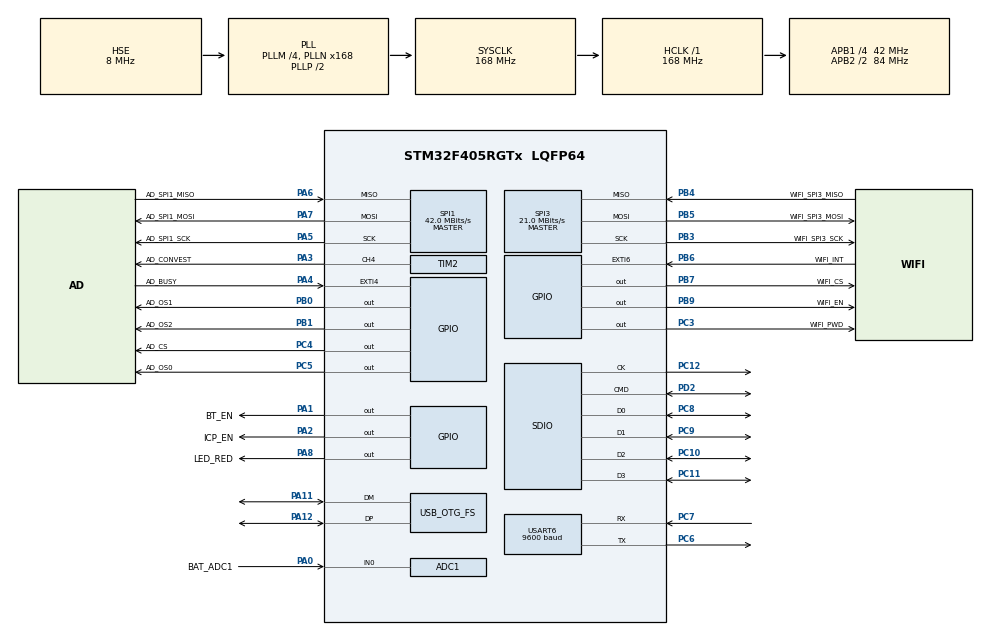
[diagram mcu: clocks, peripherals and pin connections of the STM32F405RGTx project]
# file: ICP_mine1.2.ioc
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ADC1.Channel-0\#ChannelRegularConversion=ADC_CHANNEL_0
ADC1.ClockPrescaler=ADC_CLOCK_SYNC_PCLK_DIV4
ADC1.ContinuousConvMode=DISABLE
ADC1.DMAContinuousRequests=DISABLE
ADC1.DataAlign=ADC_DATAALIGN_RIGHT
ADC1.DiscontinuousConvMode=DISABLE
ADC1.EOCSelection=ADC_EOC_SINGLE_CONV
ADC1.EnableAnalogWatchDog=false
ADC1.ExternalTrigConv=ADC_SOFTWARE_START
ADC1.ExternalTrigConvEdge=ADC_EXTERNALTRIGCONVEDGE_NONE
ADC1.InjNumberOfConversion=0
ADC1.NbrOfConversion=1
ADC1.NbrOfConversionFlag=1
ADC1.Rank-0\#ChannelRegularConversion=1
ADC1.Resolution=ADC_RESOLUTION_12B
ADC1.SamplingTime-0\#ChannelRegularConversion=ADC_SAMPLETIME_3CYCLES
ADC1.ScanConvMode=DISABLE
ADC1.master=1
Dma.Request0=SDIO_RX
Dma.Request1=SDIO_TX
Dma.SDIO_RX.0.Direction=DMA_PERIPH_TO_MEMORY
Dma.SDIO_RX.0.FIFOMode=DMA_FIFOMODE_ENABLE
Dma.SDIO_RX.0.FIFOThreshold=DMA_FIFO_THRESHOLD_FULL
Dma.SDIO_RX.0.Instance=DMA2_Stream3
Dma.SDIO_RX.0.MemBurst=DMA_MBURST_INC4
Dma.SDIO_RX.0.MemDataAlignment=DMA_MDATAALIGN_WORD
Dma.SDIO_RX.0.MemInc=DMA_MINC_ENABLE
Dma.SDIO_RX.0.Mode=DMA_PFCTRL
Dma.SDIO_RX.0.PeriphBurst=DMA_PBURST_INC4
Dma.SDIO_RX.0.PeriphDataAlignment=DMA_PDATAALIGN_WORD
Dma.SDIO_RX.0.PeriphInc=DMA_PINC_DISABLE
Dma.SDIO_RX.0.Priority=DMA_PRIORITY_HIGH
Dma.SDIO_TX.1.Direction=DMA_MEMORY_TO_PERIPH
Dma.SDIO_TX.1.FIFOMode=DMA_FIFOMODE_ENABLE
Dma.SDIO_TX.1.FIFOThreshold=DMA_FIFO_THRESHOLD_FULL
Dma.SDIO_TX.1.Instance=DMA2_Stream6
Dma.SDIO_TX.1.MemBurst=DMA_MBURST_INC4
Dma.SDIO_TX.1.MemDataAlignment=DMA_MDATAALIGN_WORD
Dma.SDIO_TX.1.MemInc=DMA_MINC_ENABLE
Dma.SDIO_TX.1.Mode=DMA_PFCTRL
Dma.SDIO_TX.1.PeriphBurst=DMA_PBURST_INC4
Dma.SDIO_TX.1.PeriphDataAlignment=DMA_PDATAALIGN_WORD
Dma.SDIO_TX.1.PeriphInc=DMA_PINC_DISABLE
Dma.SDIO_TX.1.Priority=DMA_PRIORITY_HIGH
FATFS._USE_LFN=2
FREERTOS.INCLUDE_eTaskGetState=1
FREERTOS.INCLUDE_pcTaskGetTaskName=1
FREERTOS.INCLUDE_uxTaskGetStackHighWaterMark=1
FREERTOS.INCLUDE_vTaskCleanUpResources=1
FREERTOS.INCLUDE_vTaskDelayUntil=1
FREERTOS.Mutexes01=buf_mutex,Dynamic,NULL
FREERTOS.Tasks01=defaultTask,-3,128,StartDefaultTask,As weak,NULL,Dynamic,NULL,NULL;appTask,1,256,StartAppTask,As weak,NULL,Dynamic,NULL,NULL;test_Task,0,128,StartTest_Task,As weak,NULL,Dynamic,NULL,NULL;inquire,2,128,StartInquireTask,As weak,NULL,Dynamic,NULL,NULL
FREERTOS.configCHECK_FOR_STACK_OVERFLOW=2
FREERTOS.configGENERATE_RUN_TIME_STATS=1
FREERTOS.configTOTAL_HEAP_SIZE=102400
FREERTOS.configUSE_MALLOC_FAILED_HOOK=1
FREERTOS.configUSE_TRACE_FACILITY=1
Mcu.Family=STM32F4
Mcu.Name=STM32F405RGTx
Mcu.Package=LQFP64
NVIC.DMA2_Stream3_IRQn=true\:5\:0\:false\:false\:true\:true\:false
NVIC.DMA2_Stream6_IRQn=true\:5\:0\:false\:false\:true\:true\:false
NVIC.EXTI4_IRQn=true\:5\:0\:true\:false\:true\:true\:true
NVIC.EXTI9_5_IRQn=true\:5\:0\:false\:false\:true\:true\:true
NVIC.OTG_FS_IRQn=true\:5\:0\:false\:false\:true\:true\:false
NVIC.PriorityGroup=NVIC_PRIORITYGROUP_4
NVIC.SDIO_IRQn=true\:5\:0\:false\:false\:true\:true\:true
NVIC.TIM1_UP_TIM10_IRQn=true\:0\:0\:false\:false\:true\:false\:false
NVIC.TIM3_IRQn=true\:5\:0\:false\:false\:true\:true\:true
NVIC.TimeBase=TIM1_UP_TIM10_IRQn
NVIC.TimeBaseIP=TIM1
PA0-WKUP.GPIO_Label=BAT_ADC1
PA0-WKUP.Signal=ADCx_IN0
PA1.GPIO_Label=BT_EN
PA1.GPIO_PuPd=GPIO_PULLDOWN
PA1.GPIO_Speed=GPIO_SPEED_FREQ_HIGH
PA1.Signal=GPIO_Output
PA11.Mode=Device_Only
PA11.Signal=USB_OTG_FS_DM
PA12.Mode=Device_Only
PA12.Signal=USB_OTG_FS_DP
PA2.GPIO_Label=ICP_EN
PA2.GPIO_PuPd=GPIO_PULLDOWN
PA2.GPIO_Speed=GPIO_SPEED_FREQ_HIGH
PA2.PinState=GPIO_PIN_SET
PA2.Signal=GPIO_Output
PA3.GPIO_Label=AD_CONVEST
PA3.Signal=S_TIM2_CH4
PA4.GPIO_Label=AD_BUSY
PA4.GPIO_ModeDefaultEXTI=GPIO_MODE_IT_FALLING
PA4.Signal=GPXTI4
PA5.GPIO_Label=AD_SPI1_SCK
PA5.GPIO_PuPd=GPIO_PULLUP
PA5.Mode=Full_Duplex_Master
PA5.Signal=SPI1_SCK
PA6.GPIO_Label=AD_SPI1_MISO
PA6.GPIO_PuPd=GPIO_PULLUP
PA6.Mode=Full_Duplex_Master
PA6.Signal=SPI1_MISO
PA7.GPIO_Label=AD_SPI1_MOSI
PA7.GPIO_PuPd=GPIO_PULLUP
PA7.Mode=Full_Duplex_Master
PA7.Signal=SPI1_MOSI
PA8.GPIO_Label=LED_RED
PA8.GPIO_PuPd=GPIO_PULLUP
PA8.GPIO_Speed=GPIO_SPEED_FREQ_HIGH
PA8.Signal=GPIO_Output
PB0.GPIO_Label=AD_OS1
PB0.GPIO_PuPd=GPIO_PULLDOWN
PB0.GPIO_Speed=GPIO_SPEED_FREQ_HIGH
PB0.Signal=GPIO_Output
PB1.GPIO_Label=AD_OS2
PB1.GPIO_PuPd=GPIO_PULLDOWN
PB1.GPIO_Speed=GPIO_SPEED_FREQ_HIGH
PB1.Signal=GPIO_Output
PB3.GPIO_Label=WIFI_SPI3_SCK
PB3.GPIO_PuPd=GPIO_PULLUP
PB3.Mode=Full_Duplex_Master
PB3.Signal=SPI3_SCK
PB4.GPIO_Label=WIFI_SPI3_MISO
PB4.GPIO_PuPd=GPIO_PULLUP
PB4.Mode=Full_Duplex_Master
PB4.Signal=SPI3_MISO
PB5.GPIO_Label=WIFI_SPI3_MOSI
PB5.GPIO_PuPd=GPIO_PULLUP
PB5.Mode=Full_Duplex_Master
PB5.Signal=SPI3_MOSI
PB6.GPIO_Label=WIFI_INT
PB6.GPIO_ModeDefaultEXTI=GPIO_MODE_IT_FALLING
PB6.Signal=GPXTI6
PB7.GPIO_Label=WIFI_CS
PB7.GPIO_PuPd=GPIO_PULLUP
PB7.GPIO_Speed=GPIO_SPEED_FREQ_HIGH
PB7.PinState=GPIO_PIN_SET
PB7.Signal=GPIO_Output
PB9.GPIO_Label=WIFI_EN
PB9.GPIO_PuPd=GPIO_PULLDOWN
PB9.GPIO_Speed=GPIO_SPEED_FREQ_HIGH
PB9.Signal=GPIO_Output
PC10.GPIO_PuPd=GPIO_PULLUP
PC10.Mode=SD_4_bits_Wide_bus
PC10.Signal=SDIO_D2
PC11.GPIO_PuPd=GPIO_PULLUP
PC11.Mode=SD_4_bits_Wide_bus
PC11.Signal=SDIO_D3
PC12.GPIO_PuPd=GPIO_PULLUP
PC12.Mode=SD_4_bits_Wide_bus
PC12.Signal=SDIO_CK
PC14-OSC32_IN.Mode=LSE-External-Oscillator
PC14-OSC32_IN.Signal=RCC_OSC32_IN
PC15-OSC32_OUT.Mode=LSE-External-Oscillator
PC15-OSC32_OUT.Signal=RCC_OSC32_OUT
PC3.GPIO_Label=WIFI_PWD
PC3.GPIO_PuPd=GPIO_PULLUP
PC3.GPIO_Speed=GPIO_SPEED_FREQ_HIGH
PC3.Signal=GPIO_Output
PC4.GPIO_Label=AD_CS
PC4.GPIO_PuPd=GPIO_PULLUP
PC4.GPIO_Speed=GPIO_SPEED_FREQ_HIGH
PC4.PinState=GPIO_PIN_SET
PC4.Signal=GPIO_Output
PC5.GPIO_Label=AD_OS0
PC5.GPIO_PuPd=GPIO_PULLDOWN
PC5.GPIO_Speed=GPIO_SPEED_FREQ_HIGH
PC5.Signal=GPIO_Output
PC6.Mode=Asynchronous
PC6.Signal=USART6_TX
PC7.Mode=Asynchronous
PC7.Signal=USART6_RX
PC8.GPIO_PuPd=GPIO_PULLUP
PC8.Mode=SD_4_bits_Wide_bus
PC8.Signal=SDIO_D0
PC9.GPIO_PuPd=GPIO_PULLUP
PC9.Mode=SD_4_bits_Wide_bus
PC9.Signal=SDIO_D1
PD2.GPIO_PuPd=GPIO_PULLUP
PD2.Mode=SD_4_bits_Wide_bus
PD2.Signal=SDIO_CMD
PH0-OSC_IN.Mode=HSE-External-Oscillator
PH0-OSC_IN.Signal=RCC_OSC_IN
PH1-OSC_OUT.Mode=HSE-External-Oscillator
PH1-OSC_OUT.Signal=RCC_OSC_OUT
ProjectManager.HeapSize=0x1000
ProjectManager.StackSize=0x500
ProjectManager.TargetToolchain=MDK-ARM V5
RCC.48MHZClocksFreq_Value=48000000
RCC.AHBFreq_Value=168000000
RCC.APB1CLKDivider=RCC_HCLK_DIV4
RCC.APB1Freq_Value=42000000
RCC.APB1TimFreq_Value=84000000
RCC.APB2CLKDivider=RCC_HCLK_DIV2
RCC.APB2Freq_Value=84000000
RCC.APB2TimFreq_Value=168000000
RCC.CortexFreq_Value=168000000
RCC.HCLKFreq_Value=168000000
RCC.HSE_VALUE=8000000
RCC.HSI_VALUE=16000000
RCC.PLLM=4
RCC.PLLN=168
RCC.PLLQ=7
RCC.SYSCLKFreq_VALUE=168000000
RCC.SYSCLKSource=RCC_SYSCLKSOURCE_PLLCLK
RCC.VCOOutputFreq_Value=336000000
SH.ADCx_IN0.0=ADC1_IN0,IN0
SH.S_TIM2_CH4.0=TIM2_CH4,PWM Generation4 CH4
SPI1.BaudRatePrescaler=SPI_BAUDRATEPRESCALER_2
SPI1.CLKPhase=SPI_PHASE_2EDGE
SPI1.CLKPolarity=SPI_POLARITY_HIGH
SPI1.CRCCalculation=SPI_CRCCALCULATION_DISABLE
SPI1.CalculateBaudRate=42.0 MBits/s
SPI1.DataSize=SPI_DATASIZE_8BIT
SPI1.Direction=SPI_DIRECTION_2LINES
SPI1.Mode=SPI_MODE_MASTER
SPI1.VirtualType=VM_MASTER
SPI3.CLKPhase=SPI_PHASE_2EDGE
SPI3.CLKPolarity=SPI_POLARITY_HIGH
SPI3.CalculateBaudRate=21.0 MBits/s
SPI3.Direction=SPI_DIRECTION_2LINES
SPI3.Mode=SPI_MODE_MASTER
SPI3.VirtualType=VM_MASTER
TIM2.Channel-PWM\ Generation4\ CH4=TIM_CHANNEL_4
TIM2.Period=1200
TIM2.Prescaler=70-1
TIM3.Prescaler=4200-1
USART6.BaudRate=9600
USART6.VirtualMode=VM_ASYNC
USB_DEVICE.CLASS_NAME_FS=CDC
USB_DEVICE.VirtualMode-CDC_FS=Cdc
USB_DEVICE.VirtualModeFS=Cdc_FS
USB_OTG_FS.VirtualMode=Device_Only
VP_FATFS_VS_SDIO.Mode=SDIO
VP_FREERTOS_VS_ENABLE.Mode=Enabled
VP_SYS_VS_tim1.Mode=TIM1
VP_TIM3_VS_ClockSourceINT.Mode=Internal
VP_USB_DEVICE_VS_USB_DEVICE_CDC_FS.Mode=CDC_FS
board=ICP_mine1.2

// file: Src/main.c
/**
  ******************************************************************************
  * @file           : main.c
  * @brief          : Main program body
  ******************************************************************************
  * This notice applies to any and all portions of this file
  * that are not between comment pairs USER CODE BEGIN and
  * USER CODE END. Other portions of this file, whether
  * inserted by the user or by software development tools
  * are owned by their respective copyright owners.
  *
  * Copyright (c) 2018 STMicroelectronics International N.V.
  * All rights reserved.
  *
  * Redistribution and use in source and binary forms, with or without
  * modification, are permitted, provided that the following conditions are met:
  *
  * 1. Redistribution of source code must retain the above copyright notice,
  *    this list of conditions and the following disclaimer.
  * 2. Redistributions in binary form must reproduce the above copyright notice,
  *    this list of conditions and the following disclaimer in the documentation
  *    and/or other materials provided with the distribution.
  * 3. Neither the name of STMicroelectronics nor the names of other
  *    contributors to this software may be used to endorse or promote products
  *    derived from this software without specific written permission.
  * 4. This software, including modifications and/or derivative works of this
  *    software, must execute solely and exclusively on microcontroller or
  *    microprocessor devices manufactured by or for STMicroelectronics.
  * 5. Redistribution and use of this software other than as permitted under
  *    this license is void and will automatically terminate your rights under
  *    this license.
  *
  * THIS SOFTWARE IS PROVIDED BY STMICROELECTRONICS AND CONTRIBUTORS "AS IS"
  * AND ANY EXPRESS, IMPLIED OR STATUTORY WARRANTIES, INCLUDING, BUT NOT
  * LIMITED TO, THE IMPLIED WARRANTIES OF MERCHANTABILITY, FITNESS FOR A
  * PARTICULAR PURPOSE AND NON-INFRINGEMENT OF THIRD PARTY INTELLECTUAL PROPERTY
  * RIGHTS ARE DISCLAIMED TO THE FULLEST EXTENT PERMITTED BY LAW. IN NO EVENT
  * SHALL STMICROELECTRONICS OR CONTRIBUTORS BE LIABLE FOR ANY DIRECT, INDIRECT,
  * INCIDENTAL, SPECIAL, EXEMPLARY, OR CONSEQUENTIAL DAMAGES (INCLUDING, BUT NOT
  * LIMITED TO, PROCUREMENT OF SUBSTITUTE GOODS OR SERVICES; LOSS OF USE, DATA,
  * OR PROFITS; OR BUSINESS INTERRUPTION) HOWEVER CAUSED AND ON ANY THEORY OF
  * LIABILITY, WHETHER IN CONTRACT, STRICT LIABILITY, OR TORT (INCLUDING
  * NEGLIGENCE OR OTHERWISE) ARISING IN ANY WAY OUT OF THE USE OF THIS SOFTWARE,
  * EVEN IF ADVISED OF THE POSSIBILITY OF SUCH DAMAGE.
  *
  ******************************************************************************
  */
#include "main.h"
#include "stm32f4xx_hal.h"
#include "cmsis_os.h"
#include "adc.h"
#include "dma.h"
#include "fatfs.h"
#include "sdio.h"
#include "spi.h"
#include "tim.h"
#include "usart.h"
#include "usb_device.h"
#include "gpio.h"

/* USER CODE BEGIN Includes */
#include "AD7606.h"
#include "bluetooth.h"
#include "usbd_cdc_if.h"
/* USER CODE END Includes */

/* USER CODE BEGIN PV */
/* Private variables ---------------------------------------------------------*/

/* USER CODE END PV */

void SystemClock_Config(void);
void MX_FREERTOS_Init(void);

/* USER CODE BEGIN PFP */
/* Private function prototypes -----------------------------------------------*/

/* USER CODE END PFP */

int main(void)
{

  /* MCU Configuration----------------------------------------------------------*/

  /* Reset of all peripherals, Initializes the Flash interface and the Systick. */
  HAL_Init();

  /* Configure the system clock */
  SystemClock_Config();

  /* Initialize all configured peripherals */
  MX_GPIO_Init();
  MX_DMA_Init();
  MX_TIM3_Init();
  MX_ADC1_Init();
  MX_SPI3_Init();
  MX_USART6_UART_Init();
  MX_SPI1_Init();
  MX_TIM2_Init();
  MX_SDIO_SD_Init();
  /* USER CODE BEGIN 2 */
  HAL_GPIO_WritePin(BT_EN_GPIO_Port,BT_EN_Pin,GPIO_PIN_SET);
	HAL_GPIO_WritePin(WIFI_EN_GPIO_Port,WIFI_EN_Pin,GPIO_PIN_SET);
	//HAL_GPIO_WritePin(ICP_EN_GPIO_Port,ICP_EN_Pin,GPIO_PIN_SET);
	AD7606_Init();
  PowerOn(ICP);

	//注意如果在freeRTOS的default Task中初始化了,串口助手会无法打开，而且使用USB功能需要将heap调大，否则会出现问题
	MX_USB_DEVICE_Init();//初始化USB 在freeRTOS中初始化了
	HAL_Delay(200);
  AD_CONVEST_PWM_Init(10);//10kHz
	//SetBluetoothBaud(9600);//设置蓝牙的波特率
	  MX_FATFS_Init();

  HAL_Delay(5000);//延长5s再开启蓝牙

//	HAL_TIM_PWM_Start(&htim2,TIM_CHANNEL_4);

  /* USER CODE END 2 */

  /* Call init function for freertos objects (in freertos.c) */
  MX_FREERTOS_Init();

  /* Start scheduler */
  osKernelStart();

  /* We should never get here as control is now taken by the scheduler */

  /* Infinite loop */
  /* USER CODE BEGIN WHILE */

	//OS下不会执行到这里来的
	uint8_t buf;
  while (1)
  {
  /* USER CODE END WHILE */

  /* USER CODE BEGIN 3 */
//		HAL_GPIO_TogglePin(LED_RED_GPIO_Port,LED_RED_Pin);
//		HAL_Delay(1000);
		HAL_Delay(10);
		UsbReceiveData(&buf);
		if(buf=='Y')
		{
			HAL_TIM_PWM_Start(&htim2, TIM_CHANNEL_4);
			PowerOn(LED);
			buf=0;
		}
		else if(buf=='N')
		{
			HAL_TIM_PWM_Stop(&htim2, TIM_CHANNEL_4);
			PowerOff(LED);
			buf=0;
		}

  }
  /* USER CODE END 3 */

}

void SystemClock_Config(void)
{

  RCC_OscInitTypeDef RCC_OscInitStruct;
  RCC_ClkInitTypeDef RCC_ClkInitStruct;

    /**Configure the main internal regulator output voltage
    */
  __HAL_RCC_PWR_CLK_ENABLE();

  __HAL_PWR_VOLTAGESCALING_CONFIG(PWR_REGULATOR_VOLTAGE_SCALE1);

    /**Initializes the CPU, AHB and APB busses clocks
    */
  RCC_OscInitStruct.OscillatorType = RCC_OSCILLATORTYPE_HSE;
  RCC_OscInitStruct.HSEState = RCC_HSE_ON;
  RCC_OscInitStruct.PLL.PLLState = RCC_PLL_ON;
  RCC_OscInitStruct.PLL.PLLSource = RCC_PLLSOURCE_HSE;
  RCC_OscInitStruct.PLL.PLLM = 4;
  RCC_OscInitStruct.PLL.PLLN = 168;
  RCC_OscInitStruct.PLL.PLLP = RCC_PLLP_DIV2;
  RCC_OscInitStruct.PLL.PLLQ = 7;
  if (HAL_RCC_OscConfig(&RCC_OscInitStruct) != HAL_OK)
  {
    _Error_Handler(__FILE__, __LINE__);
  }

    /**Initializes the CPU, AHB and APB busses clocks
    */
  RCC_ClkInitStruct.ClockType = RCC_CLOCKTYPE_HCLK|RCC_CLOCKTYPE_SYSCLK
                              |RCC_CLOCKTYPE_PCLK1|RCC_CLOCKTYPE_PCLK2;
  RCC_ClkInitStruct.SYSCLKSource = RCC_SYSCLKSOURCE_PLLCLK;
  RCC_ClkInitStruct.AHBCLKDivider = RCC_SYSCLK_DIV1;
  RCC_ClkInitStruct.APB1CLKDivider = RCC_HCLK_DIV4;
  RCC_ClkInitStruct.APB2CLKDivider = RCC_HCLK_DIV2;

  if (HAL_RCC_ClockConfig(&RCC_ClkInitStruct, FLASH_LATENCY_5) != HAL_OK)
  {
    _Error_Handler(__FILE__, __LINE__);
  }

    /**Configure the Systick interrupt time
    */
  HAL_SYSTICK_Config(HAL_RCC_GetHCLKFreq()/1000);

    /**Configure the Systick
    */
  HAL_SYSTICK_CLKSourceConfig(SYSTICK_CLKSOURCE_HCLK);

  /* SysTick_IRQn interrupt configuration */
  HAL_NVIC_SetPriority(SysTick_IRQn, 15, 0);
}

void HAL_TIM_PeriodElapsedCallback(TIM_HandleTypeDef *htim)
{
  if (htim->Instance == TIM1) {
    HAL_IncTick();
  }
  /* USER CODE BEGIN Callback 1 */
  if(htim->Instance == TIM3) {
    Tim3Counter++;
  }
  /* USER CODE END Callback 1 */
}

void _Error_Handler(char *file, int line)
{
  /* USER CODE BEGIN Error_Handler_Debug */
  /* User can add his own implementation to report the HAL error return state */
  while(1)
  {
		HAL_GPIO_TogglePin(LED_RED_GPIO_Port,LED_RED_Pin);
		HAL_Delay(10000);
  }
  /* USER CODE END Error_Handler_Debug */
}

#ifdef  USE_FULL_ASSERT
/**
  * @brief  Reports the name of the source file and the source line number
  *         where the assert_param error has occurred.
  * @param  file: pointer to the source file name
  * @param  line: assert_param error line source number
  * @retval None
  */
void assert_failed(uint8_t* file, uint32_t line)
{
  /* USER CODE BEGIN 6 */
  /* User can add his own implementation to report the file name and line number,
    ex: printf("Wrong parameters value: file %s on line %d\r\n", file, line) */
	while(1){
		printf("Wrong parameters value: file %s on line %d\r\n", file, line);
		osDelay(1000);
	}
  /* USER CODE END 6 */
}
#endif /* USE_FULL_ASSERT */

/************************ (C) COPYRIGHT STMicroelectronics *****END OF FILE****/

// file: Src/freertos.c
/**
  ******************************************************************************
  * File Name          : freertos.c
  * Description        : Code for freertos applications
  ******************************************************************************
  * This notice applies to any and all portions of this file
  * that are not between comment pairs USER CODE BEGIN and
  * USER CODE END. Other portions of this file, whether
  * inserted by the user or by software development tools
  * are owned by their respective copyright owners.
  *
  * Copyright (c) 2018 STMicroelectronics International N.V.
  * All rights reserved.
  *
  * Redistribution and use in source and binary forms, with or without
  * modification, are permitted, provided that the following conditions are met:
  *
  * 1. Redistribution of source code must retain the above copyright notice,
  *    this list of conditions and the following disclaimer.
  * 2. Redistributions in binary form must reproduce the above copyright notice,
  *    this list of conditions and the following disclaimer in the documentation
  *    and/or other materials provided with the distribution.
  * 3. Neither the name of STMicroelectronics nor the names of other
  *    contributors to this software may be used to endorse or promote products
  *    derived from this software without specific written permission.
  * 4. This software, including modifications and/or derivative works of this
  *    software, must execute solely and exclusively on microcontroller or
  *    microprocessor devices manufactured by or for STMicroelectronics.
  * 5. Redistribution and use of this software other than as permitted under
  *    this license is void and will automatically terminate your rights under
  *    this license.
  *
  * THIS SOFTWARE IS PROVIDED BY STMICROELECTRONICS AND CONTRIBUTORS "AS IS"
  * AND ANY EXPRESS, IMPLIED OR STATUTORY WARRANTIES, INCLUDING, BUT NOT
  * LIMITED TO, THE IMPLIED WARRANTIES OF MERCHANTABILITY, FITNESS FOR A
  * PARTICULAR PURPOSE AND NON-INFRINGEMENT OF THIRD PARTY INTELLECTUAL PROPERTY
  * RIGHTS ARE DISCLAIMED TO THE FULLEST EXTENT PERMITTED BY LAW. IN NO EVENT
  * SHALL STMICROELECTRONICS OR CONTRIBUTORS BE LIABLE FOR ANY DIRECT, INDIRECT,
  * INCIDENTAL, SPECIAL, EXEMPLARY, OR CONSEQUENTIAL DAMAGES (INCLUDING, BUT NOT
  * LIMITED TO, PROCUREMENT OF SUBSTITUTE GOODS OR SERVICES; LOSS OF USE, DATA,
  * OR PROFITS; OR BUSINESS INTERRUPTION) HOWEVER CAUSED AND ON ANY THEORY OF
  * LIABILITY, WHETHER IN CONTRACT, STRICT LIABILITY, OR TORT (INCLUDING
  * NEGLIGENCE OR OTHERWISE) ARISING IN ANY WAY OUT OF THE USE OF THIS SOFTWARE,
  * EVEN IF ADVISED OF THE POSSIBILITY OF SUCH DAMAGE.
  *
  ******************************************************************************
  */

#include "FreeRTOS.h"
#include "task.h"
#include "cmsis_os.h"

osThreadId defaultTaskHandle;
osThreadId appTaskHandle;
osThreadId test_TaskHandle;
osThreadId inquireHandle;
osMutexId buf_mutexHandle;

void StartDefaultTask(void const * argument);
void StartAppTask(void const * argument);
void StartTest_Task(void const * argument);
void StartInquireTask(void const * argument);

extern void MX_USB_DEVICE_Init(void);
extern void MX_FATFS_Init(void);
void MX_FREERTOS_Init(void); /* (MISRA C 2004 rule 8.1) */

/* Hook prototypes */
void configureTimerForRunTimeStats(void);
unsigned long getRunTimeCounterValue(void);
void vApplicationStackOverflowHook(xTaskHandle xTask, signed char *pcTaskName);
void vApplicationMallocFailedHook(void);

/* USER CODE BEGIN 1 */
/* Functions needed when configGENERATE_RUN_TIME_STATS is on */
__weak void configureTimerForRunTimeStats(void)
{

}

__weak unsigned long getRunTimeCounterValue(void)
{
  return 0;
}

////覆盖上面的函数
//void configureTimerForRunTimeStats(void)
//{
//    HAL_TIM_Base_Start_IT(&htim3);
//}

//unsigned long getRunTimeCounterValue(void)
//{
//    /*返回定时器3中断处理函数的变量*/
//    return Tim3Counter;
//}
/* USER CODE END 1 */

/* USER CODE BEGIN 4 */

__weak void vApplicationStackOverflowHook(xTaskHandle xTask, signed char *pcTaskName)
{
   /* Run time stack overflow checking is performed if
   configCHECK_FOR_STACK_OVERFLOW is defined to 1 or 2. This hook function is
   called if a stack overflow is detected. */
}

////覆盖上面的函数
//void vApplicationStackOverflowHook(xTaskHandle xTask, signed char *pcTaskName)
//{
//    /* Run time stack overflow checking is performed if
//    configCHECK_FOR_STACK_OVERFLOW is defined to 1 or 2. This hook function is
//    called if a stack overflow is detected. */
//    DPRINTF("%s StackOverFlow!\r\n",pcTaskName);
//}

/* USER CODE END 4 */

/* USER CODE BEGIN 5 */

__weak void vApplicationMallocFailedHook(void)
{
   /* vApplicationMallocFailedHook() will only be called if
   configUSE_MALLOC_FAILED_HOOK is set to 1 in FreeRTOSConfig.h. It is a hook
   function that will get called if a call to pvPortMalloc() fails.
   pvPortMalloc() is called internally by the kernel whenever a task, queue,
   timer or semaphore is created. It is also called by various parts of the
   demo application. If heap_1.c or heap_2.c are used, then the size of the
   heap available to pvPortMalloc() is defined by configTOTAL_HEAP_SIZE in
   FreeRTOSConfig.h, and the xPortGetFreeHeapSize() API function can be used
   to query the size of free heap space that remains (although it does not
   provide information on how the remaining heap might be fragmented). */
}

////覆盖上面的函数
//void vApplicationMallocFailedHook(void)
//{
//    /* vApplicationMallocFailedHook() will only be called if
//    configUSE_MALLOC_FAILED_HOOK is set to 1 in FreeRTOSConfig.h. It is a hook
//    function that will get called if a call to pvPortMalloc() fails.
//    pvPortMalloc() is called internally by the kernel whenever a task, queue,
//    timer or semaphore is created. It is also called by various parts of the
//    demo application. If heap_1.c or heap_2.c are used, then the size of the
//    heap available to pvPortMalloc() is defined by configTOTAL_HEAP_SIZE in
//    FreeRTOSConfig.h, and the xPortGetFreeHeapSize() API function can be used
//    to query the size of free heap space that remains (although it does not
//    provide information on how the remaining heap might be fragmented). */
//    DPRINTF("vApplicationMallocFailedHook!\r\n");
//}

/* USER CODE END 5 */

/* Init FreeRTOS */

void MX_FREERTOS_Init(void) {

  /* Create the mutex(es) */
  /* definition and creation of buf_mutex */
  osMutexDef(buf_mutex);
  buf_mutexHandle = osMutexCreate(osMutex(buf_mutex));

  /* Create the thread(s) */
  /* definition and creation of defaultTask */
  osThreadDef(defaultTask, StartDefaultTask, osPriorityIdle, 0, 128);
  defaultTaskHandle = osThreadCreate(osThread(defaultTask), NULL);

  /* definition and creation of appTask */
  osThreadDef(appTask, StartAppTask, osPriorityAboveNormal, 0, 256);
  appTaskHandle = osThreadCreate(osThread(appTask), NULL);

  /* definition and creation of test_Task */
  osThreadDef(test_Task, StartTest_Task, osPriorityNormal, 0, 1024);
  test_TaskHandle = osThreadCreate(osThread(test_Task), NULL);

  /* definition and creation of inquire */
  osThreadDef(inquire, StartInquireTask, osPriorityHigh, 0, 128);
  inquireHandle = osThreadCreate(osThread(inquire), NULL);

}

/* StartDefaultTask function */
__weak void StartDefaultTask(void const * argument)
{
  /* init code for USB_DEVICE */
  MX_USB_DEVICE_Init();

  /* init code for FATFS */
  MX_FATFS_Init();

  /* USER CODE BEGIN StartDefaultTask */
  /* Infinite loop */
  for(;;)
  {
//		get_xtask_state();//获取任务的状态
//		HAL_GPIO_TogglePin(LED_RED_GPIO_Port,LED_RED_Pin);
		//HAL_Delay(1000);
    osDelay(5000);//每隔5秒获取一次每个任务的状态信息
  }
  /* USER CODE END StartDefaultTask */
}

/* StartAppTask function */
__weak void StartAppTask(void const * argument)
{
  for(;;)
  {
    osDelay(1);
  }
}

/* StartTest_Task function */
__weak void StartTest_Task(void const * argument)
{
  for(;;)
  {
		osDelay(1);
  }
}

/* StartInquireTask function */
__weak void StartInquireTask(void const * argument)
{
  for(;;)
  {
    osDelay(1);
  }
}

/************************ (C) COPYRIGHT STMicroelectronics *****END OF FILE****/
